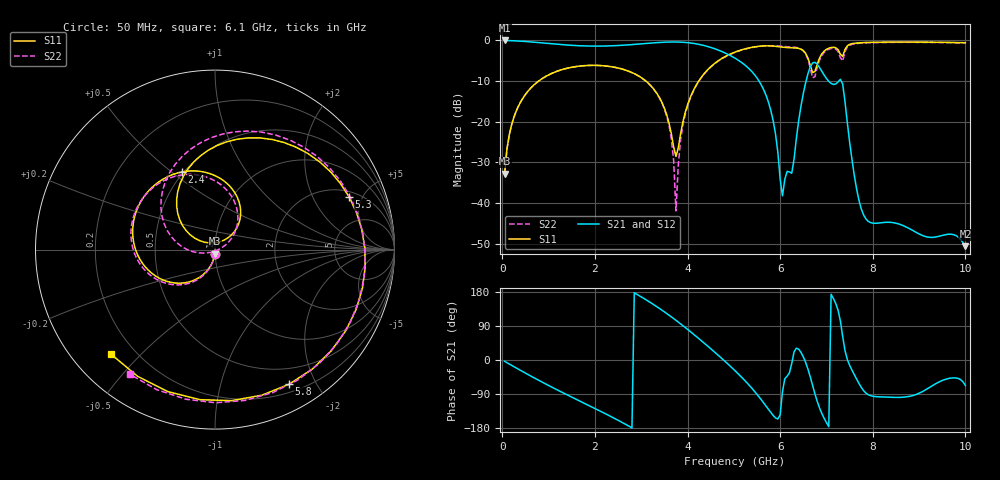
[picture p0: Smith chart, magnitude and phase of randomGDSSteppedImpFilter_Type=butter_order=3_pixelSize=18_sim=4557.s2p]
! freq	dB(S11)	phase(S11)	dB(S12)	phase(S12)
!  dB(S21)	phase(S21)	dB(S22)	phase(S22)
!S-par simulation data
#  GHz  S  DB  R 50
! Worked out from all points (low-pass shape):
!   200 points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, 50 MHz to 10 GHz, reference 50 ohm
!   highest |S21| = -0.01 dB at 50 MHz (marker M1); lowest = -50.6 dB at 10 GHz (marker M2)
!   |S21| within 3 dB of the highest: start of sweep to 4.796 GHz
!   lowest |S11| = -32.8 dB at 50 MHz (marker M3), VSWR 1.05, Z = 49.8 - j2.29 ohm
!   |S11| at or under -10 dB: start of sweep to 784.4 MHz; 3.101 GHz to 4.241 GHz (1.14 GHz wide, 31.1 % of centre)
!   |S22| runs from -41.9 to -0.5 dB; largest |S21 - S12| = 0
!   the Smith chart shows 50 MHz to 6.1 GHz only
!   S11 on the Smith chart (normalised r, x): 50 MHz: 1.00, -0.05; 2.4 GHz: 0.49, +0.54; 5.3 GHz: 2.36, +3.91; 5.8 GHz: 0.29, -1.65; 6.1 GHz: 0.11, -0.41
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0.05  -32.76 -93.5  -0.01 -3.5  -0.01 -3.5  -32.76 -93.3
0.5  -13.28 -126.2  -0.26 -34.6  -0.26 -34.6  -13.28 -124.2
1.75  -6.23 153.3  -1.34 -112.9  -1.34 -112.9  -6.23 159.9
2.4  -6.55 113.2  -1.31 -152.6  -1.31 -152.6  -6.56 121.3
3.4  -14.19 47.4  -0.49 135.5  -0.49 135.5  -14.31 49.4
3.65  -22.96 46.9  -0.38 113.9  -0.38 113.9  -24.16 23.0
3.75  -28.52 93.7  -0.38 104.8  -0.38 104.8  -41.93 -49.9
3.85  -22.96 144.7  -0.42 95.4  -0.42 95.4  -24.50 -161.0
4.05  -14.28 146.6  -0.61 76.0  -0.61 76.0  -14.51 174.4
4.55  -5.99 103.7  -1.90 24.6  -1.90 24.6  -6.06 120.5
5.05  -2.76 51.6  -4.53 -31.1  -4.53 -31.1  -2.83 62.0
5.3  -1.91 21.5  -6.65 -62.4  -6.65 -62.4  -1.98 28.6
5.8  -1.35 -61.2  -17.28 -138.8  -17.28 -138.8  -1.30 -57.5
6.1  -1.71 -134.8  -34.17 -49.8  -34.17 -49.8  -1.50 -124.3
6.45  -2.15 130.1  -16.12 20.1  -16.12 20.1  -2.13 150.7
6.7  -7.91 91.5  -5.55 -66.8  -5.55 -66.8  -9.18 112.4
6.95  -2.63 87.0  -8.52 -153.9  -8.52 -153.9  -2.94 110.9
7.3  -3.42 41.6  -9.56 103.7  -9.56 103.7  -4.24 56.9
7.45  -1.33 46.3  -20.18 1.8  -20.18 1.8  -1.62 65.1
7.8  -0.53 15.4  -42.88 -80.6  -42.88 -80.6  -0.63 27.4
8.35  -0.41 -15.0  -44.73 -98.3  -44.73 -98.3  -0.48 -9.7
10  -0.56 -76.6  -50.60 -67.2  -50.60 -67.2  -0.62 -83.2
